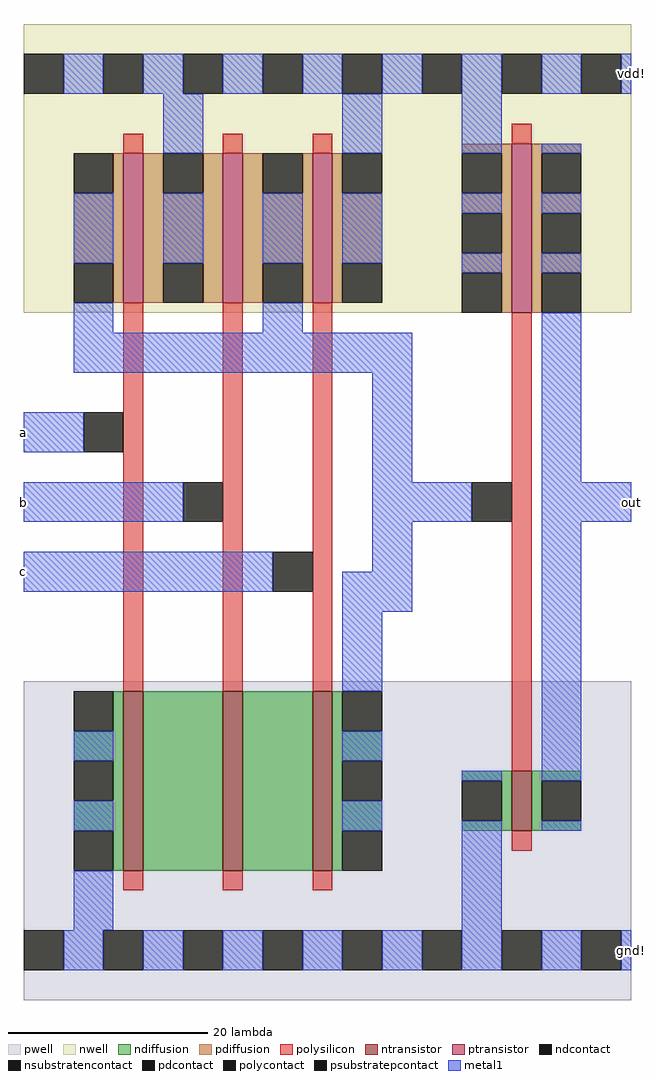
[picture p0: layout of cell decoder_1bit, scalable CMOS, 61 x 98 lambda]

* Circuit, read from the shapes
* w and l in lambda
.subckt decoder_1bit a b c gnd! out vdd!
M1 n1 a gnd! gnd! nfet w=18 l=2
M2 n2 b n1 gnd! nfet w=18 l=2
M3 n3 c n2 gnd! nfet w=18 l=2
M4 out n3 gnd! gnd! nfet w=6 l=2
M5 vdd! a n3 vdd! pfet w=15 l=2
M6 n3 b vdd! vdd! pfet w=15 l=2
M7 vdd! c n3 vdd! pfet w=15 l=2
M8 out n3 vdd! vdd! pfet w=17 l=2
.ends

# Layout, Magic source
magic
tech scmos
<< pwell >>
rect -5 -70 56 -38
<< nwell >>
rect -5 -1 56 28
<< polysilicon >>
rect 5 15 7 17
rect 15 15 17 17
rect 24 15 26 17
rect 44 16 46 18
rect 5 -39 7 0
rect 15 -39 17 0
rect 24 -39 26 0
rect 44 -47 46 -1
rect 44 -55 46 -53
rect 5 -59 7 -57
rect 15 -59 17 -57
rect 24 -59 26 -57
<< ndiffusion >>
rect 4 -43 5 -39
rect 0 -46 5 -43
rect 4 -50 5 -46
rect 0 -53 5 -50
rect 4 -57 5 -53
rect 7 -57 15 -39
rect 17 -57 24 -39
rect 26 -43 27 -39
rect 26 -46 31 -43
rect 26 -50 27 -46
rect 26 -53 31 -50
rect 39 -48 44 -47
rect 43 -52 44 -48
rect 39 -53 44 -52
rect 46 -48 51 -47
rect 46 -52 47 -48
rect 46 -53 51 -52
rect 26 -57 27 -53
<< pdiffusion >>
rect 39 15 44 16
rect 4 11 5 15
rect 0 4 5 11
rect 4 0 5 4
rect 7 11 9 15
rect 13 11 15 15
rect 7 4 15 11
rect 7 0 9 4
rect 13 0 15 4
rect 17 11 19 15
rect 23 11 24 15
rect 17 4 24 11
rect 17 0 19 4
rect 23 0 24 4
rect 26 11 27 15
rect 26 4 31 11
rect 26 0 27 4
rect 43 11 44 15
rect 39 9 44 11
rect 43 5 44 9
rect 39 3 44 5
rect 43 -1 44 3
rect 46 15 51 16
rect 46 11 47 15
rect 46 9 51 11
rect 46 5 47 9
rect 46 3 51 5
rect 46 -1 47 3
<< metal1 >>
rect -1 21 3 25
rect 7 21 11 25
rect 15 21 19 25
rect 23 21 27 25
rect 31 21 35 25
rect 9 15 13 21
rect 27 15 31 21
rect 0 4 4 11
rect 9 4 13 11
rect 19 4 23 11
rect 27 4 31 11
rect 39 15 43 25
rect 47 21 51 25
rect 55 21 56 25
rect 39 9 43 11
rect 39 3 43 5
rect 0 -3 4 0
rect 19 -3 23 0
rect 47 15 51 16
rect 47 9 51 11
rect 47 3 51 5
rect 0 -7 34 -3
rect -5 -15 1 -11
rect 30 -18 34 -7
rect 47 -18 51 -1
rect -5 -22 11 -18
rect 30 -22 40 -18
rect 47 -22 56 -18
rect -5 -29 20 -25
rect 30 -27 34 -22
rect 27 -31 34 -27
rect 27 -39 31 -31
rect 0 -46 4 -43
rect 0 -53 4 -50
rect 27 -46 31 -43
rect 27 -53 31 -50
rect 39 -48 43 -47
rect 0 -63 4 -57
rect -1 -67 3 -63
rect 7 -67 11 -63
rect 15 -67 19 -63
rect 23 -67 27 -63
rect 31 -67 35 -63
rect 39 -67 43 -52
rect 47 -48 51 -22
rect 47 -53 51 -52
rect 47 -67 51 -63
rect 55 -67 56 -63
<< ntransistor >>
rect 5 -57 7 -39
rect 15 -57 17 -39
rect 24 -57 26 -39
rect 44 -53 46 -47
<< ptransistor >>
rect 5 0 7 15
rect 15 0 17 15
rect 24 0 26 15
rect 44 -1 46 16
<< polycontact >>
rect 1 -15 5 -11
rect 11 -22 15 -18
rect 20 -29 24 -25
rect 40 -22 44 -18
<< ndcontact >>
rect 0 -43 4 -39
rect 0 -50 4 -46
rect 0 -57 4 -53
rect 27 -43 31 -39
rect 27 -50 31 -46
rect 39 -52 43 -48
rect 47 -52 51 -48
rect 27 -57 31 -53
<< pdcontact >>
rect 0 11 4 15
rect 0 0 4 4
rect 9 11 13 15
rect 9 0 13 4
rect 19 11 23 15
rect 19 0 23 4
rect 27 11 31 15
rect 27 0 31 4
rect 39 11 43 15
rect 39 5 43 9
rect 39 -1 43 3
rect 47 11 51 15
rect 47 5 51 9
rect 47 -1 51 3
<< psubstratepcontact >>
rect -5 -67 -1 -63
rect 3 -67 7 -63
rect 11 -67 15 -63
rect 19 -67 23 -63
rect 27 -67 31 -63
rect 35 -67 39 -63
rect 43 -67 47 -63
rect 51 -67 55 -63
<< nsubstratencontact >>
rect -5 21 -1 25
rect 3 21 7 25
rect 11 21 15 25
rect 19 21 23 25
rect 27 21 31 25
rect 35 21 39 25
rect 43 21 47 25
rect 51 21 55 25
<< labels >>
rlabel metal1 56 -22 56 -18 7 out
rlabel metal1 -5 -15 -5 -11 3 a
rlabel metal1 -5 -22 -5 -18 3 b
rlabel metal1 -5 -29 -5 -25 3 c
rlabel metal1 56 -67 56 -63 8 gnd!
rlabel metal1 56 21 56 25 6 vdd!
<< end >>
